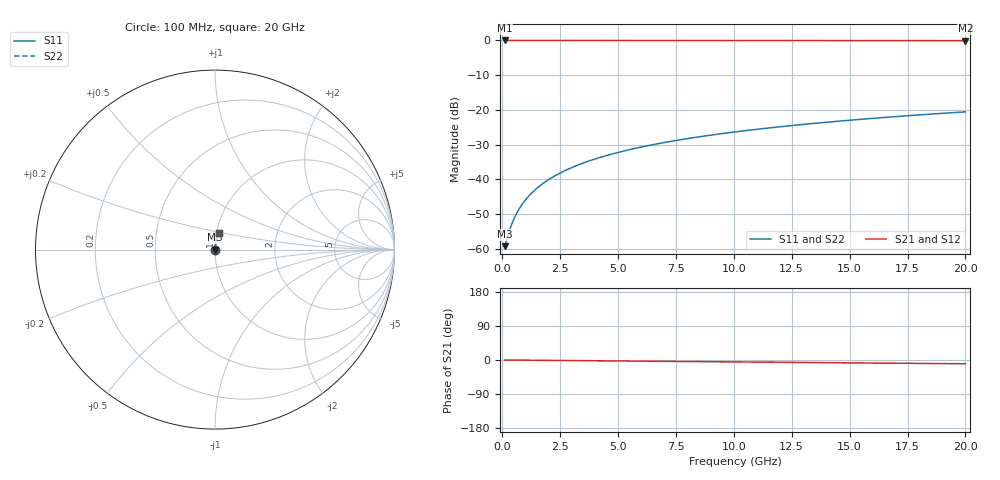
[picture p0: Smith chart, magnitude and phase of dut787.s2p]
! Touchstone file exported from HFSS 2026.1.0
!  File:  C:/ffzhzh/LocalFiles/Ansys_Project_Files/temp_train_TSV_787_1783183791_55132.aedt
!  Generated:  12:51:56 AM Jul  5, 2026
!  Design:  TSV
!  Project:  temp_train_TSV_787_1783183791_55132
! Variables:
!  h_bsmrdl = 2um
!  h_ox = 20um
!  h_rdl = 5um
!  h_sub = 85.14um
!  h_tmrdl = 5um
!  h_tsv = 85.14um
!  h_via = 3um
!  l_bsmrdl = 300um
!  l_sub = 406.4um
!  l_tmrdl = 200um
!  m_sub = 200um
!  pitch = 34.88um
!  r_tsv = 3.2um
!  s_tmrdl = 10um
!  w_bsmrdl = 18um
!  w_sub = 500um
!  w_tmrdl = 12um
!  x_tsv_center1 = 206um
!  x_tsv_center2 = 524um
!  x_tsv_center3 = 736um
!  x_tsv_center4 = 1054um
!  x_tsv_center5 = 1266um
!  x_tsv_center6 = 1584um
# GHz S MA R 50.000000
! Terminal data exported
! Port[1] = TSV1_1_T1
! Port[2] = TSV1_1_T2
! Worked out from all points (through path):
!   200 points, 100 MHz to 20 GHz, reference 50 ohm
!   highest |S21| = -0.01 dB at 100 MHz (marker M1); lowest = -0.1 dB at 20 GHz (marker M2)
!   group delay of S21, straight-line fit = 1.38 ps
!   lowest |S11| = -59.2 dB at 100 MHz (marker M3), VSWR 1.00, Z = 50.1 + j0.0508 ohm
!   |S11| at or under -10 dB: start of sweep to end of sweep
!   |S22| runs from -59.2 to -20.5 dB; largest |S21 - S12| = 3.9e-15
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0.1  0.001098 27.5  0.999 -0.1  0.999 -0.1  0.001098 27.5
! Gamma 0 0 0 0
! Port Impedance 50 0 50 0
0.3  0.001807 56.6  0.999 -0.2  0.999 -0.2  0.001807 56.6
0.4  0.002243 63.3  0.999 -0.2  0.999 -0.2  0.002243 63.3
0.5  0.002697 67.7  0.999 -0.3  0.999 -0.3  0.002697 67.7
0.6  0.003162 70.9  0.999 -0.3  0.999 -0.3  0.003162 70.9
0.7  0.003634 73.3  0.999 -0.4  0.999 -0.4  0.003634 73.3
0.9  0.00459 76.5  0.9989 -0.5  0.9989 -0.5  0.00459 76.5
1.2  0.006042 79.3  0.9989 -0.6  0.9989 -0.6  0.006042 79.3
1.4  0.007015 80.5  0.9989 -0.7  0.9989 -0.7  0.007015 80.5
1.7  0.008479 81.7  0.9989 -0.9  0.9989 -0.9  0.008479 81.7
2.2  0.01092 82.8  0.9988 -1.1  0.9988 -1.1  0.01092 82.8
2.8  0.01385 83.5  0.9987 -1.4  0.9987 -1.4  0.01385 83.5
3.5  0.01726 83.8  0.9985 -1.8  0.9985 -1.8  0.01726 83.8
4.2  0.02065 83.9  0.9984 -2.1  0.9984 -2.1  0.02065 83.9
5  0.0245 83.8  0.9982 -2.5  0.9982 -2.5  0.0245 83.8
5.9  0.0288 83.6  0.9979 -3.0  0.9979 -3.0  0.0288 83.6
6.8  0.03307 83.3  0.9976 -3.5  0.9976 -3.5  0.03307 83.3
8.3  0.04014 82.8  0.9971 -4.2  0.9971 -4.2  0.04014 82.8
10.1  0.04854 82.1  0.9965 -5.1  0.9965 -5.1  0.04854 82.1
13.4  0.0638 80.8  0.9952 -6.7  0.9952 -6.7  0.0638 80.8
16.7  0.07891 79.4  0.9938 -8.4  0.9938 -8.4  0.07891 79.4
20  0.09387 78.0  0.9922 -10.0  0.9922 -10.0  0.09387 78.0
